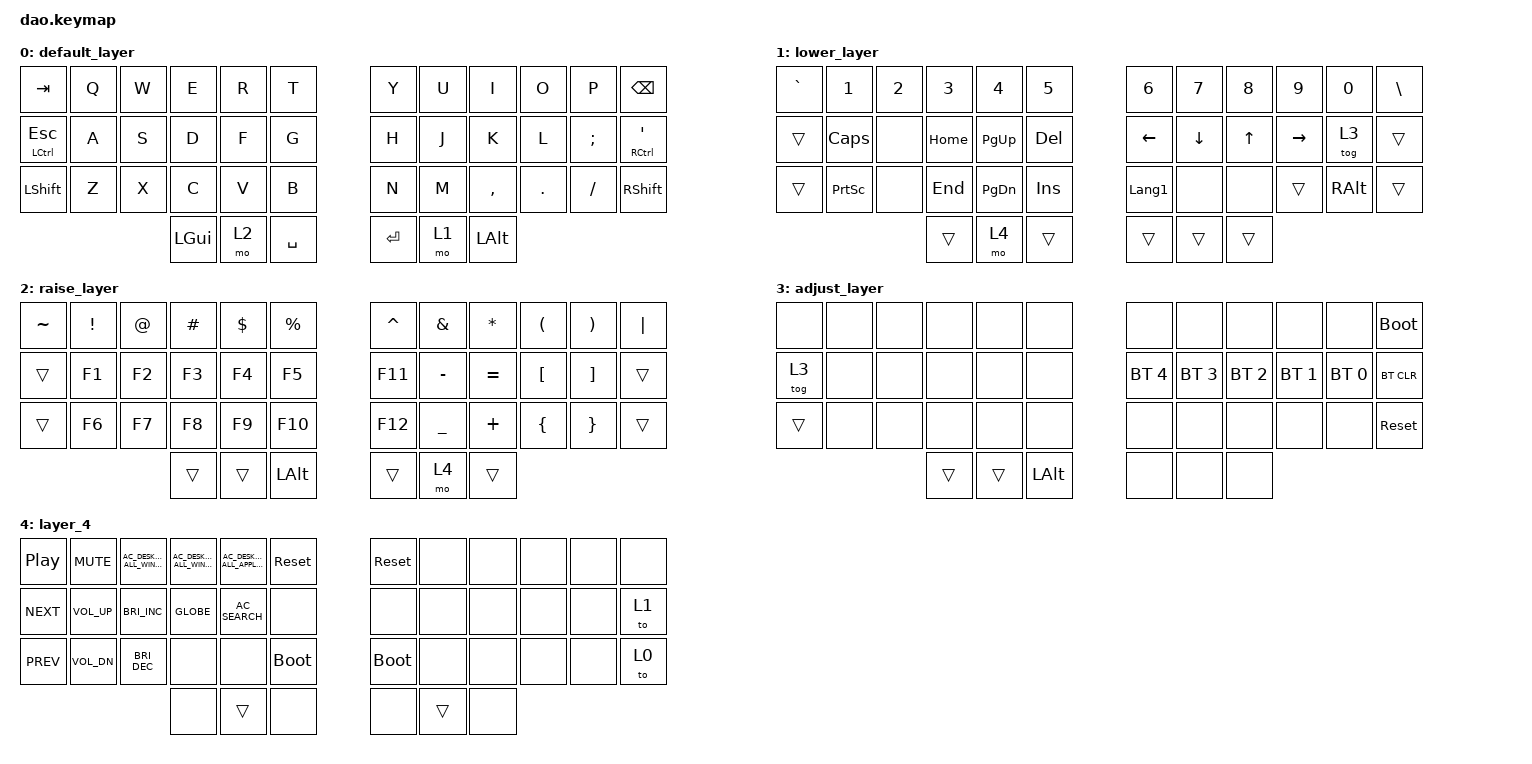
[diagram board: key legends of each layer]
/*
 * Copyright (c) 2021 Rafael Yumagulov
 *
 * SPDX-License-Identifier: MIT
 */

#include <behaviors.dtsi>
#include <dt-bindings/zmk/bt.h>
#include <dt-bindings/zmk/keys.h>

#define DEF 0
#define LWR 1
#define RSE 2
#define ADJ 3

&lt { quick_tap_ms = <200>; };

&mt { quick_tap_ms = <200>; };

/ {
    chosen {
        zmk,matrix_transform = &default_transform;

        // zmk,matrix_transform = &extra_keys_transform;
    };
};

/ {
    keymap {
        compatible = "zmk,keymap";

        default_layer {
            bindings = <
&kp TAB         &kp Q  &kp W  &kp E     &kp R  &kp T      &kp Y      &kp U  &kp I         &kp O    &kp P     &kp BACKSPACE
&mt LCTRL ESC   &kp A  &kp S  &kp D     &kp F  &kp G      &kp H      &kp J  &kp K         &kp L    &kp SEMI  &mt RCTRL SQT
&kp LEFT_SHIFT  &kp Z  &kp X  &kp C     &kp V  &kp B      &kp N      &kp M  &kp COMMA     &kp DOT  &kp FSLH  &kp RSHFT
                              &kp LGUI  &mo 2  &kp SPACE  &kp ENTER  &mo 1  &kp LEFT_ALT
            >;
        };

        lower_layer {
            bindings = <
&kp GRAVE  &kp N1           &kp N2  &kp N3    &kp N4         &kp N5      &kp N6          &kp N7    &kp N8  &kp N9     &kp N0         &kp BACKSLASH
&trans     &kp CAPSLOCK     &none   &kp HOME  &kp PAGE_UP    &kp DELETE  &kp LEFT_ARROW  &kp DOWN  &kp UP  &kp RIGHT  &tog 3         &trans
&trans     &kp PRINTSCREEN  &none   &kp END   &kp PAGE_DOWN  &kp INSERT  &kp LANGUAGE_1  &none     &none   &trans     &kp RIGHT_ALT  &trans
                                    &trans    &mo 4          &trans      &trans          &trans    &trans
            >;
        };

        raise_layer {
            bindings = <
&kp TILDE  &kp EXCLAMATION  &kp AT_SIGN  &kp POUND  &kp DOLLAR  &kp PERCENT   &kp CARET  &kp AMPERSAND   &kp ASTRK  &kp LEFT_PARENTHESIS  &kp RIGHT_PARENTHESIS  &kp PIPE
&trans     &kp F1           &kp F2       &kp F3     &kp F4      &kp F5        &kp F11    &kp MINUS       &kp EQUAL  &kp LEFT_BRACKET      &kp RIGHT_BRACKET      &trans
&trans     &kp F6           &kp F7       &kp F8     &kp F9      &kp F10       &kp F12    &kp UNDERSCORE  &kp PLUS   &kp LEFT_BRACE        &kp RIGHT_BRACE        &trans
                                         &trans     &trans      &kp LEFT_ALT  &trans     &mo 4           &trans
            >;
        };

        adjust_layer {
            bindings = <
&none   &none  &none  &none   &none   &none         &none         &none         &none         &none         &none         &bootloader
&tog 3  &none  &none  &none   &none   &none         &bt BT_SEL 4  &bt BT_SEL 3  &bt BT_SEL 2  &bt BT_SEL 1  &bt BT_SEL 0  &bt BT_CLR
&trans  &none  &none  &none   &none   &none         &none         &none         &none         &none         &none         &sys_reset
                      &trans  &trans  &kp LEFT_ALT  &none         &none         &none
            >;
        };

        layer_4 {
            bindings = <
&kp C_PLAY_PAUSE  &kp K_MUTE    &kp C_AC_DESKTOP_SHOW_ALL_WINDOWS  &kp C_AC_DESKTOP_SHOW_ALL_WINDOWS  &kp C_AC_DESKTOP_SHOW_ALL_APPLICATIONS  &sys_reset   &sys_reset   &none   &none  &none  &none  &none
&kp C_NEXT        &kp C_VOL_UP  &kp C_BRIGHTNESS_INC               &kp GLOBE                          &kp C_AC_SEARCH                         &none        &none        &none   &none  &none  &none  &to 1
&kp C_PREV        &kp C_VOL_DN  &kp C_BRIGHTNESS_DEC               &none                              &none                                   &bootloader  &bootloader  &none   &none  &none  &none  &to 0
                                                                   &none                              &trans                                  &none        &none        &trans  &none
            >;
        };
    };
};
